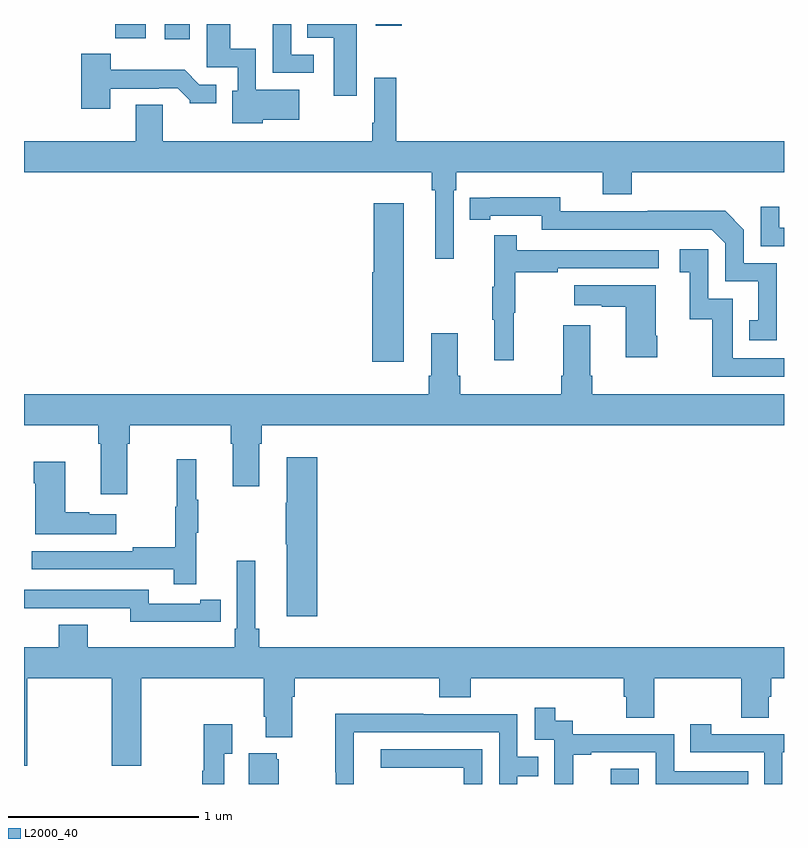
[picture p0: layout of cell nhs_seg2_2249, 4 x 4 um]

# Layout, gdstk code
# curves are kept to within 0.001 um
import gdstk
lib = gdstk.Library(unit=1e-6, precision=1e-09)
def R(c, l, rs):  # rectangles x0, y0, x1, y1
    for r in rs: c.add(gdstk.rectangle(r[:2], r[2:], *l))
def P(c, l, *ps):  # polygons
    for p in ps: c.add(gdstk.Polygon(p, *l))
L2000_40 = (2000, 40)

nhs_seg2_2249 = lib.new_cell('nhs_seg2_2249')
R(nhs_seg2_2249, L2000_40, [(232.089,593.8,232.236,593.881), (229.742,597.72,229.873,597.8), (229.48,597.725,229.642,597.8), (230.852,597.792,230.987,597.8)])
P(nhs_seg2_2249, L2000_40, [(230.524,597.639),(230.406,597.639),(230.406,597.8),(230.31,597.8),(230.31,597.543),(230.524,597.543)],
  [(230.752,597.8),(230.491,597.8),(230.491,597.728),(230.63,597.728),(230.63,597.423),(230.752,597.423)],
  [(230.256,597.296),(230.449,597.296),(230.449,597.454),(230.22,597.454),(230.22,597.67),(230.086,597.67),(230.086,597.8),(229.961,597.8),(229.961,597.573),(230.124,597.573),(230.124,597.45),(230.096,597.45),(230.096,597.278),(230.256,597.278)],
  [(229.453,597.459),(229.709,597.459),(229.709,597.462),(229.808,597.462),(229.872,597.398),(229.872,597.383),(230.011,597.383),(230.011,597.48),(229.923,597.48),(229.845,597.559),(229.456,597.559),(229.456,597.643),(229.301,597.643),(229.301,597.354),(229.453,597.354)],
  [(231.261,596.924),(231.275,596.924),(231.275,597.02),(232.046,597.02),(232.046,596.903),(232.199,596.903),(232.199,597.02),(233,597.02),(233,597.184),(230.96,597.184),(230.96,597.517),(230.844,597.517),(230.844,597.28),(230.832,597.28),(230.832,597.184),(229.729,597.184),(229.729,597.374),(229.589,597.374),(229.589,597.184),(229,597.184),(229,597.02),(231.145,597.02),(231.145,596.924),(231.164,596.924),(231.164,596.565),(231.261,596.565)],
  [(232.962,596.541),(232.788,596.541),(232.788,596.718),(232.69,596.816),(232.282,596.816),(232.282,596.814),(231.822,596.814),(231.822,596.887),(231.346,596.886),(231.346,596.77),(231.454,596.77),(231.454,596.79),(231.726,596.79),(231.726,596.718),(232.62,596.718),(232.692,596.646),(232.692,596.445),(232.865,596.445),(232.865,596.241),(232.816,596.241),(232.816,596.136),(232.962,596.136)],
  [(230.998,596.857),(230.84,596.857),(230.84,596.493),(230.834,596.493),(230.834,596.022),(230.998,596.022)],
  [(233,596.727),(232.975,596.727),(232.975,596.839),(232.878,596.839),(232.878,596.631),(233,596.631)],
  [(231.578,596.28),(231.586,596.28),(231.586,596.494),(231.809,596.494),(231.809,596.514),(232.342,596.514),(232.342,596.61),(231.593,596.61),(231.593,596.689),(231.476,596.689),(231.476,596.417),(231.465,596.417),(231.465,596.243),(231.476,596.243),(231.476,596.031),(231.578,596.031)],
  [(233,596.04),(232.731,596.04),(232.731,596.355),(232.602,596.355),(232.602,596.614),(232.452,596.614),(232.452,596.493),(232.505,596.493),(232.505,596.247),(232.623,596.247),(232.623,595.944),(233,595.944)],
  [(232.332,596.158),(232.324,596.158),(232.324,596.425),(231.897,596.425),(231.897,596.321),(232.04,596.321),(232.04,596.311),(232.166,596.311),(232.166,596.046),(232.332,596.046)],
  [(229.543,595.592),(229.556,595.592),(229.556,595.688),(230.087,595.688),(230.087,595.592),(230.099,595.592),(230.099,595.368),(230.239,595.368),(230.239,595.592),(230.252,595.592),(230.252,595.688),(233,595.688),(233,595.852),(231.992,595.852),(231.992,595.948),(231.979,595.948),(231.979,596.215),(231.839,596.215),(231.839,595.948),(231.827,595.948),(231.827,595.852),(231.296,595.852),(231.296,595.948),(231.283,595.948),(231.283,596.173),(231.143,596.173),(231.143,595.948),(231.131,595.948),(231.131,595.852),(229,595.852),(229,595.688),(229.391,595.688),(229.391,595.592),(229.403,595.592),(229.403,595.326),(229.543,595.326)],
  [(230.543,595.519),(230.384,595.519),(230.384,595.28),(230.377,595.28),(230.377,595.063),(230.384,595.063),(230.384,594.684),(230.543,594.684)],
  [(229.907,595.123),(229.918,595.123),(229.918,595.297),(229.907,595.297),(229.907,595.51),(229.804,595.51),(229.804,595.26),(229.797,595.26),(229.797,595.046),(229.573,595.046),(229.573,595.026),(229.041,595.026),(229.041,594.93),(229.789,594.93),(229.789,594.852),(229.907,594.852)],
  [(229.486,595.219),(229.343,595.219),(229.343,595.229),(229.216,595.229),(229.216,595.495),(229.051,595.495),(229.051,595.382),(229.058,595.382),(229.058,595.115),(229.486,595.115)],
  [(229.017,594.356),(229.462,594.356),(229.462,593.895),(229.617,593.895),(229.617,594.356),(230.261,594.356),(230.261,594.154),(230.273,594.154),(230.273,594.047),(230.413,594.047),(230.413,594.26),(230.426,594.26),(230.426,594.356),(231.185,594.356),(231.185,594.257),(231.35,594.257),(231.35,594.356),(232.157,594.356),(232.157,594.258),(232.169,594.258),(232.169,594.148),(232.317,594.148),(232.317,594.356),(232.774,594.356),(232.774,594.148),(232.921,594.148),(232.921,594.258),(232.934,594.258),(232.934,594.356),(233,594.356),(233,594.52),(230.237,594.52),(230.237,594.616),(230.218,594.616),(230.218,594.976),(230.121,594.976),(230.121,594.616),(230.108,594.616),(230.108,594.52),(229.336,594.52),(229.336,594.637),(229.184,594.637),(229.184,594.52),(229,594.52),(229,593.895),(229.017,593.895)],
  [(229.928,594.654),(230.036,594.654),(230.036,594.77),(229.928,594.77),(229.928,594.75),(229.656,594.75),(229.656,594.822),(229,594.822),(229,594.725),(229.1,594.725),(229.1,594.726),(229.56,594.726),(229.56,594.653),(229.928,594.653)],
  [(231.89,593.955),(231.985,593.955),(231.985,593.967),(232.326,593.967),(232.326,593.8),(232.811,593.8),(232.811,593.868),(232.422,593.868),(232.422,594.063),(231.888,594.063),(231.888,594.132),(231.796,594.132),(231.796,594.202),(231.687,594.202),(231.687,594.033),(231.792,594.033),(231.792,593.804),(231.791,593.804),(231.791,593.8),(231.89,593.8)],
  [(230.736,594.072),(231.501,594.072),(231.501,593.8),(231.597,593.8),(231.597,593.842),(231.707,593.842),(231.707,593.943),(231.597,593.943),(231.597,594.168),(231.101,594.168),(231.101,594.17),(230.638,594.17),(230.638,593.863),(230.64,593.863),(230.64,593.8),(230.736,593.8)],
  [(232.992,593.967),(233,593.967),(233,594.063),(232.618,594.063),(232.618,594.115),(232.507,594.115),(232.507,593.967),(232.896,593.967),(232.896,593.8),(232.992,593.8)],
  [(230.055,593.959),(230.095,593.959),(230.095,594.115),(229.947,594.115),(229.947,593.87),(229.939,593.87),(229.939,593.8),(230.055,593.8)],
  [(231.411,593.982),(230.877,593.982),(230.877,593.886),(231.315,593.886),(231.315,593.8),(231.411,593.8)],
  [(230.341,593.931),(230.33,593.931),(230.33,593.962),(230.183,593.962),(230.183,593.8),(230.341,593.8)])

lib.write_gds('nhs_seg2_2249.gds')
